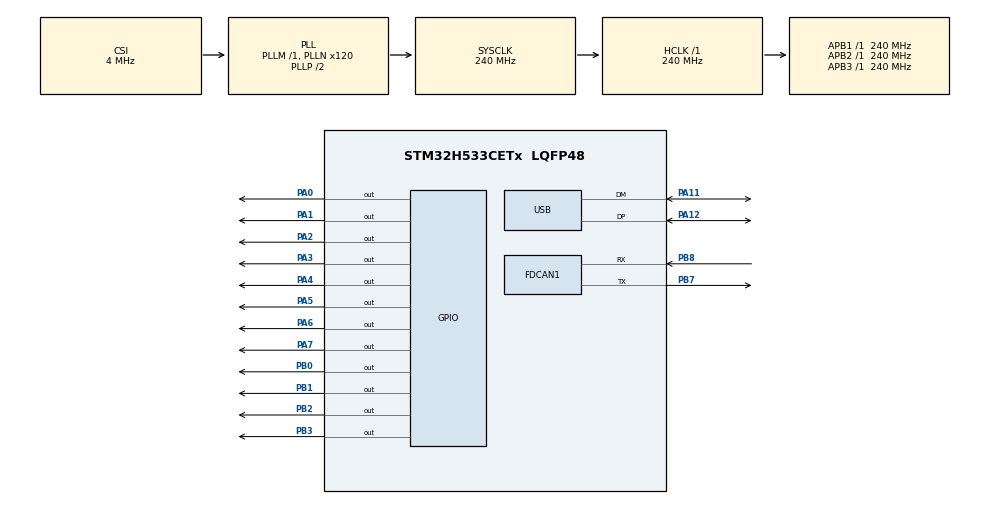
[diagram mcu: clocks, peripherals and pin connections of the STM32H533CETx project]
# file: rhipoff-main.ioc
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BOOTPATH.BootPathName=LEGACY
BOOTPATH.UserSelectedBootPath=LEGACY
CORTEX_M33_NS.userName=CORTEX_M33
FDCAN1.CalculateBaudRateNominal=999999
FDCAN1.CalculateTimeBitNominal=1000
FDCAN1.CalculateTimeQuantumNominal=62.50000000000001
FDCAN1.DataPrescaler=15
FDCAN1.DataSyncJumpWidth=2
FDCAN1.DataTimeSeg1=13
FDCAN1.DataTimeSeg2=2
FDCAN1.NominalPrescaler=15
FDCAN1.NominalSyncJumpWidth=2
FDCAN1.NominalTimeSeg1=13
FDCAN1.NominalTimeSeg2=2
FDCAN1.StdFiltersNbr=1
Mcu.Family=STM32H5
Mcu.Name=STM32H533CETx
Mcu.Package=LQFP48
NVIC.FDCAN1_IT0_IRQn=true\:0\:0\:false\:false\:true\:true\:true\:true
NVIC.PriorityGroup=NVIC_PRIORITYGROUP_4
NVIC.USB_DRD_FS_IRQn=true\:0\:0\:false\:false\:true\:true\:true\:true
PA0.Signal=GPIO_Output
PA1.Signal=GPIO_Output
PA11.Mode=Device
PA11.Signal=USB_DM
PA12.Mode=Device
PA12.Signal=USB_DP
PA13(JTMS/SWDIO).Signal=DEBUG_JTMS-SWDIO
PA14(JTCK/SWCLK).Signal=DEBUG_JTCK-SWCLK
PA2.Signal=GPIO_Output
PA3.Signal=GPIO_Output
PA4.Signal=GPIO_Output
PA5.Signal=GPIO_Output
PA6.Signal=GPIO_Output
PA7.Signal=GPIO_Output
PB0.Signal=GPIO_Output
PB1.Signal=GPIO_Output
PB2.Signal=GPIO_Output
PB3(JTDO/TRACESWO).Signal=GPIO_Output
PB7.Mode=FDCAN_Activate
PB7.Signal=FDCAN1_TX
PB8.Mode=FDCAN_Activate
PB8.Signal=FDCAN1_RX
ProjectManager.HeapSize=0x600
ProjectManager.StackSize=0x700
ProjectManager.TargetToolchain=STM32CubeIDE
RCC.ADCFreq_Value=240000000
RCC.AHBFreq_Value=240000000
RCC.APB1Freq_Value=240000000
RCC.APB1TimFreq_Value=240000000
RCC.APB2Freq_Value=240000000
RCC.APB2TimFreq_Value=240000000
RCC.APB3Freq_Value=240000000
RCC.CSI_VALUE=4000000
RCC.CortexFreq_Value=240000000
RCC.EPOD_VALUE=4000000
RCC.FDCANClockSelection=RCC_FDCANCLKSOURCE_PLL1Q
RCC.HCLKFreq_Value=240000000
RCC.HSE_VALUE=25000000
RCC.HSI48_VALUE=48000000
RCC.HSI_VALUE=64000000
RCC.LSE_VALUE=32768
RCC.LSIRC_VALUE=32000
RCC.PLL2FRACN=0
RCC.PLL3FRACN=0
RCC.PLLFRACN=0
RCC.PLLN=120
RCC.SYSCLKFreq_VALUE=240000000
RCC.SYSCLKSource=RCC_SYSCLKSOURCE_PLLCLK
RCC.USBFreq_Value=48000000
RCC.VCOOutputFreq_Value=480000000
USB.VirtualMode=Device_Only
VP_BOOTPATH_VS_BOOTPATH.Mode=BP_Activate
VP_CORTEX_M33_NS_VS_Hclk.Mode=Hclk_Mode
VP_MEMORYMAP_VS_MEMORYMAP.Mode=CurAppReg
VP_PWR_VS_DBSignals.Mode=DisableDeadBatterySignals
VP_PWR_VS_LPOM.Mode=PowerOptimisation
VP_PWR_VS_SECSignals.Mode=Security/Privilege
board=custom

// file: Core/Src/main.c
/* USER CODE BEGIN Header */
/**
  ******************************************************************************
  * @file           : main.c
  * @brief          : Main program body
  ******************************************************************************
  * @attention
  *
  * Copyright (c) 2024 STMicroelectronics.
  * All rights reserved.
  *
  * This software is licensed under terms that can be found in the LICENSE file
  * in the root directory of this software component.
  * If no LICENSE file comes with this software, it is provided AS-IS.
  *
  ******************************************************************************
  */
/* USER CODE END Header */
#include "main.h"

/* USER CODE BEGIN Includes */
#include "usbd_core.h"
#include "usbd_customhid.h"
#include "usbd_customhid_if.h"
#include "usbd_desc.h"
/* USER CODE END Includes */

FDCAN_HandleTypeDef hfdcan1;

PCD_HandleTypeDef hpcd_USB_DRD_FS;

/* USER CODE BEGIN PV */
USBD_HandleTypeDef hUsbDeviceFS;

FDCAN_RxHeaderTypeDef Rx_Header;
uint8_t rxData[8];
FDCAN_TxHeaderTypeDef Tx_Header;
uint8_t txData[4];
uint8_t buttons[2] = {0};
/* USER CODE END PV */

void SystemClock_Config(void);
static void MX_GPIO_Init(void);
static void MX_FDCAN1_Init(void);
/* USER CODE BEGIN PFP */
static void FDCAN_Config(void);
/* USER CODE END PFP */

int main(void)
{

  /* MCU Configuration--------------------------------------------------------*/

  /* Reset of all peripherals, Initializes the Flash interface and the Systick. */
  HAL_Init();

  /* Configure the system clock */
  SystemClock_Config();

  /* Initialize all configured peripherals */
  MX_GPIO_Init();
  MX_FDCAN1_Init();
  /* USER CODE BEGIN 2 */
  /* Initialize the USB Device Library */
   USBD_Init(&hUsbDeviceFS, &Class_Desc, DEVICE_FS);

   USBD_RegisterClass(&hUsbDeviceFS, &USBD_CUSTOM_HID);

   USBD_CUSTOM_HID_RegisterInterface(&hUsbDeviceFS, &USBD_CustomHID_template_fops);

   USBD_Start(&hUsbDeviceFS);

  FDCAN_Config(); // need to set up the FD CAN peripheral with our parameters.

  /* USER CODE END 2 */

  /* Infinite loop */
  /* USER CODE BEGIN WHILE */
  while (1)
  {
  		HAL_GPIO_WritePin(GPIOA, GPIO_PIN_0, GPIO_PIN_SET);
  		if (HAL_FDCAN_AddMessageToTxFifoQ(&hfdcan1, &Tx_Header, txData) != HAL_OK) // not useful rn
  		{
  			Error_Handler();
  		}
  		HAL_Delay(50);

  	    	buttons[0] = ((rxData[0] > 64) + 2*(rxData[1] > 64) + 4*(rxData[2] > 64) + 8*(rxData[3] > 64));
  	    USBD_CUSTOM_HID_SendReport(&hUsbDeviceFS, buttons, sizeof(buttons));
    /* USER CODE END WHILE */

  }
}
void SystemClock_Config(void)
{
  RCC_OscInitTypeDef RCC_OscInitStruct = {0};
  RCC_ClkInitTypeDef RCC_ClkInitStruct = {0};

  /** Configure the main internal regulator output voltage
  */
  __HAL_PWR_VOLTAGESCALING_CONFIG(PWR_REGULATOR_VOLTAGE_SCALE0);

  while(!__HAL_PWR_GET_FLAG(PWR_FLAG_VOSRDY)) {}

  /** Initializes the RCC Oscillators according to the specified parameters
  * in the RCC_OscInitTypeDef structure.
  */
  RCC_OscInitStruct.OscillatorType = RCC_OSCILLATORTYPE_HSI48|RCC_OSCILLATORTYPE_CSI;
  RCC_OscInitStruct.HSI48State = RCC_HSI48_ON;
  RCC_OscInitStruct.CSIState = RCC_CSI_ON;
  RCC_OscInitStruct.CSICalibrationValue = RCC_CSICALIBRATION_DEFAULT;
  RCC_OscInitStruct.PLL.PLLState = RCC_PLL_ON;
  RCC_OscInitStruct.PLL.PLLSource = RCC_PLL1_SOURCE_CSI;
  RCC_OscInitStruct.PLL.PLLM = 1;
  RCC_OscInitStruct.PLL.PLLN = 120;
  RCC_OscInitStruct.PLL.PLLP = 2;
  RCC_OscInitStruct.PLL.PLLQ = 2;
  RCC_OscInitStruct.PLL.PLLR = 2;
  RCC_OscInitStruct.PLL.PLLRGE = RCC_PLL1_VCIRANGE_2;
  RCC_OscInitStruct.PLL.PLLVCOSEL = RCC_PLL1_VCORANGE_WIDE;
  RCC_OscInitStruct.PLL.PLLFRACN = 0;
  if (HAL_RCC_OscConfig(&RCC_OscInitStruct) != HAL_OK)
  {
    Error_Handler();
  }

  /** Initializes the CPU, AHB and APB buses clocks
  */
  RCC_ClkInitStruct.ClockType = RCC_CLOCKTYPE_HCLK|RCC_CLOCKTYPE_SYSCLK
                              |RCC_CLOCKTYPE_PCLK1|RCC_CLOCKTYPE_PCLK2
                              |RCC_CLOCKTYPE_PCLK3;
  RCC_ClkInitStruct.SYSCLKSource = RCC_SYSCLKSOURCE_PLLCLK;
  RCC_ClkInitStruct.AHBCLKDivider = RCC_SYSCLK_DIV1;
  RCC_ClkInitStruct.APB1CLKDivider = RCC_HCLK_DIV1;
  RCC_ClkInitStruct.APB2CLKDivider = RCC_HCLK_DIV1;
  RCC_ClkInitStruct.APB3CLKDivider = RCC_HCLK_DIV1;

  if (HAL_RCC_ClockConfig(&RCC_ClkInitStruct, FLASH_LATENCY_5) != HAL_OK)
  {
    Error_Handler();
  }

  /** Configure the programming delay
  */
  __HAL_FLASH_SET_PROGRAM_DELAY(FLASH_PROGRAMMING_DELAY_2);
}

static void MX_FDCAN1_Init(void)
{

  hfdcan1.Instance = FDCAN1;
  hfdcan1.Init.ClockDivider = FDCAN_CLOCK_DIV1;
  hfdcan1.Init.FrameFormat = FDCAN_FRAME_CLASSIC;
  hfdcan1.Init.Mode = FDCAN_MODE_NORMAL;
  hfdcan1.Init.AutoRetransmission = DISABLE;
  hfdcan1.Init.TransmitPause = DISABLE;
  hfdcan1.Init.ProtocolException = DISABLE;
  hfdcan1.Init.NominalPrescaler = 15;
  hfdcan1.Init.NominalSyncJumpWidth = 2;
  hfdcan1.Init.NominalTimeSeg1 = 13;
  hfdcan1.Init.NominalTimeSeg2 = 2;
  hfdcan1.Init.DataPrescaler = 15;
  hfdcan1.Init.DataSyncJumpWidth = 2;
  hfdcan1.Init.DataTimeSeg1 = 13;
  hfdcan1.Init.DataTimeSeg2 = 2;
  hfdcan1.Init.StdFiltersNbr = 1;
  hfdcan1.Init.ExtFiltersNbr = 0;
  hfdcan1.Init.TxFifoQueueMode = FDCAN_TX_FIFO_OPERATION;
  if (HAL_FDCAN_Init(&hfdcan1) != HAL_OK)
  {
    Error_Handler();
  }

}

void MX_USB_PCD_Init(void)
{

  hpcd_USB_DRD_FS.Instance = USB_DRD_FS;
  hpcd_USB_DRD_FS.Init.dev_endpoints = 8;
  hpcd_USB_DRD_FS.Init.speed = USBD_FS_SPEED;
  hpcd_USB_DRD_FS.Init.phy_itface = PCD_PHY_EMBEDDED;
  hpcd_USB_DRD_FS.Init.Sof_enable = DISABLE;
  hpcd_USB_DRD_FS.Init.low_power_enable = DISABLE;
  hpcd_USB_DRD_FS.Init.lpm_enable = DISABLE;
  hpcd_USB_DRD_FS.Init.battery_charging_enable = DISABLE;
  hpcd_USB_DRD_FS.Init.vbus_sensing_enable = DISABLE;
  hpcd_USB_DRD_FS.Init.bulk_doublebuffer_enable = DISABLE;
  hpcd_USB_DRD_FS.Init.iso_singlebuffer_enable = DISABLE;
  if (HAL_PCD_Init(&hpcd_USB_DRD_FS) != HAL_OK)
  {
    Error_Handler();
  }

}

static void MX_GPIO_Init(void)
{
  GPIO_InitTypeDef GPIO_InitStruct = {0};

  /* GPIO Ports Clock Enable */
  __HAL_RCC_GPIOA_CLK_ENABLE();
  __HAL_RCC_GPIOB_CLK_ENABLE();

  /*Configure GPIO pin Output Level */
  HAL_GPIO_WritePin(GPIOA, GPIO_PIN_0|GPIO_PIN_1|GPIO_PIN_2|GPIO_PIN_3
                          |GPIO_PIN_4|GPIO_PIN_5|GPIO_PIN_6|GPIO_PIN_7, GPIO_PIN_RESET);

  /*Configure GPIO pin Output Level */
  HAL_GPIO_WritePin(GPIOB, GPIO_PIN_0|GPIO_PIN_1|GPIO_PIN_2|GPIO_PIN_3, GPIO_PIN_RESET);

  /*Configure GPIO pins : PA0 PA1 PA2 PA3
                           PA4 PA5 PA6 PA7 */
  GPIO_InitStruct.Pin = GPIO_PIN_0|GPIO_PIN_1|GPIO_PIN_2|GPIO_PIN_3
                          |GPIO_PIN_4|GPIO_PIN_5|GPIO_PIN_6|GPIO_PIN_7;
  GPIO_InitStruct.Mode = GPIO_MODE_OUTPUT_PP;
  GPIO_InitStruct.Pull = GPIO_NOPULL;
  GPIO_InitStruct.Speed = GPIO_SPEED_FREQ_LOW;
  HAL_GPIO_Init(GPIOA, &GPIO_InitStruct);

  /*Configure GPIO pins : PB0 PB1 PB2 PB3 */
  GPIO_InitStruct.Pin = GPIO_PIN_0|GPIO_PIN_1|GPIO_PIN_2|GPIO_PIN_3;
  GPIO_InitStruct.Mode = GPIO_MODE_OUTPUT_PP;
  GPIO_InitStruct.Pull = GPIO_NOPULL;
  GPIO_InitStruct.Speed = GPIO_SPEED_FREQ_LOW;
  HAL_GPIO_Init(GPIOB, &GPIO_InitStruct);

}

/* USER CODE BEGIN 4 */
static void FDCAN_Config(void)
{
	FDCAN_FilterTypeDef filter;

	filter.IdType = FDCAN_STANDARD_ID;
	filter.FilterIndex = 0;
	filter.FilterType = FDCAN_FILTER_RANGE;
	filter.FilterConfig = FDCAN_FILTER_TO_RXFIFO0;
	filter.FilterID1 = 0x0;
	filter.FilterID2 = 0x7FF;

	if (HAL_FDCAN_ConfigFilter(&hfdcan1, &filter) != HAL_OK)
	  {
	    Error_Handler();
	  }

	if (HAL_FDCAN_ConfigGlobalFilter(&hfdcan1, FDCAN_REJECT, FDCAN_REJECT, FDCAN_FILTER_REMOTE, FDCAN_FILTER_REMOTE) != HAL_OK)
	  {
	    Error_Handler();
	  }

	if (HAL_FDCAN_Start(&hfdcan1) != HAL_OK)
	  {
	    Error_Handler();
	  }

	  if (HAL_FDCAN_ActivateNotification(&hfdcan1, FDCAN_IT_RX_FIFO0_NEW_MESSAGE, 0) != HAL_OK)
	  {
	    Error_Handler();
	  }

	  Tx_Header.Identifier = 0x23D;
	  Tx_Header.IdType = FDCAN_STANDARD_ID;
	  Tx_Header.TxFrameType = FDCAN_DATA_FRAME;
	  Tx_Header.DataLength = FDCAN_DLC_BYTES_4;
	  Tx_Header.ErrorStateIndicator = FDCAN_ESI_ACTIVE;
	  Tx_Header.BitRateSwitch = FDCAN_BRS_OFF;
	  Tx_Header.FDFormat = FDCAN_CLASSIC_CAN;
	  Tx_Header.TxEventFifoControl = FDCAN_NO_TX_EVENTS;
	  Tx_Header.MessageMarker = 0;
}

void HAL_FDCAN_RxFifo0Callback(FDCAN_HandleTypeDef *hfdcan, uint32_t RxFifo0ITs)
{
	if (RxFifo0ITs == FDCAN_IT_RX_FIFO0_NEW_MESSAGE) // we have a new message!
	{
		if (HAL_FDCAN_GetRxMessage(&hfdcan1, FDCAN_RX_FIFO0, &Rx_Header, rxData) != HAL_OK)
		{
			Error_Handler();
		}
	}
}

/* USER CODE END 4 */

void Error_Handler(void)
{
  __disable_irq();
  while (1)
  {
  }
}
